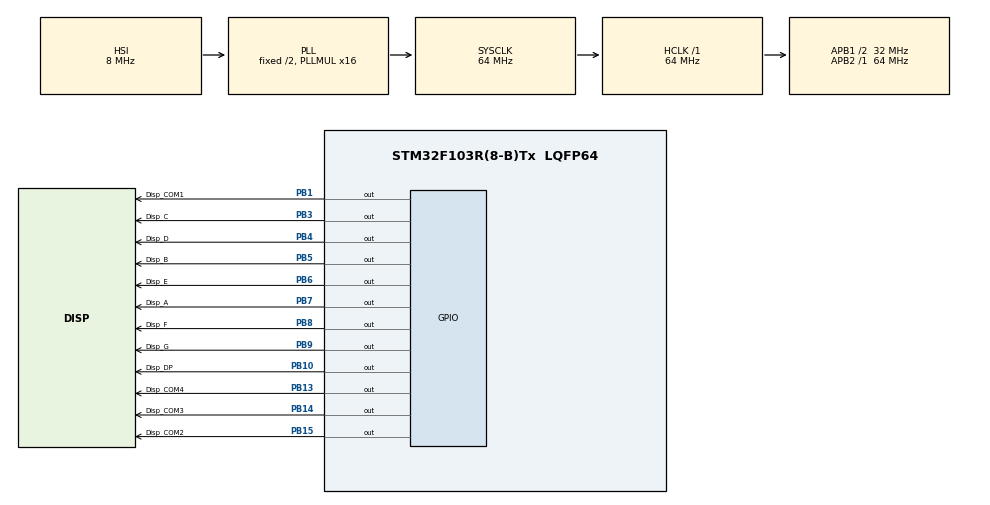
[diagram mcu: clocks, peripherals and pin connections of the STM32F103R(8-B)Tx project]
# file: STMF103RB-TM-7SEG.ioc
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Mcu.Family=STM32F1
Mcu.Name=STM32F103R(8-B)Tx
Mcu.Package=LQFP64
NVIC.PriorityGroup=NVIC_PRIORITYGROUP_4
PB1.GPIO_Label=Disp_COM1
PB1.Signal=GPIO_Output
PB10.GPIO_Label=Disp_DP
PB10.Signal=GPIO_Output
PB13.GPIO_Label=Disp_COM4
PB13.Signal=GPIO_Output
PB14.GPIO_Label=Disp_COM3
PB14.Signal=GPIO_Output
PB15.GPIO_Label=Disp_COM2
PB15.Signal=GPIO_Output
PB3.GPIO_Label=Disp_C
PB3.Signal=GPIO_Output
PB4.GPIO_Label=Disp_D
PB4.Signal=GPIO_Output
PB5.GPIO_Label=Disp_B
PB5.Signal=GPIO_Output
PB6.GPIO_Label=Disp_E
PB6.Signal=GPIO_Output
PB7.GPIO_Label=Disp_A
PB7.Signal=GPIO_Output
PB8.GPIO_Label=Disp_F
PB8.Signal=GPIO_Output
PB9.GPIO_Label=Disp_G
PB9.Signal=GPIO_Output
ProjectManager.HeapSize=0x200
ProjectManager.StackSize=0x400
ProjectManager.TargetToolchain=STM32CubeIDE
RCC.AHBFreq_Value=64000000
RCC.APB1CLKDivider=RCC_HCLK_DIV2
RCC.APB1Freq_Value=32000000
RCC.APB1TimFreq_Value=64000000
RCC.APB2Freq_Value=64000000
RCC.APB2TimFreq_Value=64000000
RCC.HCLKFreq_Value=64000000
RCC.PLLMUL=RCC_PLL_MUL16
RCC.SYSCLKFreq_VALUE=64000000
RCC.SYSCLKSource=RCC_SYSCLKSOURCE_PLLCLK
RCC.USBFreq_Value=64000000
VP_SYS_VS_ND.Mode=No_Debug
board=custom

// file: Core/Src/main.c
/* USER CODE BEGIN Header */
/**
  ******************************************************************************
  * @file           : main.c
  * @brief          : Main program body
  ******************************************************************************
  * @attention
  *
  * <h2><center>&copy; Copyright (c) 2021 STMicroelectronics.
  * All rights reserved.</center></h2>
  *
  * This software component is licensed by ST under BSD 3-Clause license,
  * the "License"; You may not use this file except in compliance with the
  * License. You may obtain a copy of the License at:
  *                        opensource.org/licenses/BSD-3-Clause
  *
  ******************************************************************************
  */
/* USER CODE END Header */
#include "main.h"

/* USER CODE BEGIN PV */
uint8_t number[10] = {
		  0b11111100,
		  0b01100000,
		  0b11011010,
		  0b11110010,
		  0b01100110,
		  0b10110110,
		  0b10111110,
		  0b11100000,
		  0b11111110,
		  0b11110110
  };

/* USER CODE END PV */

void SystemClock_Config(void);
static void MX_GPIO_Init(void);
/* USER CODE BEGIN PFP */
void Disp_WritePin(uint16_t pin, GPIO_PinState PinState);
void Disp_WriteBits(uint8_t bits);
void Disp_WriteReset(void);
/* USER CODE END PFP */

/* USER CODE BEGIN 0 */
void Disp_WritePin(uint16_t pin, GPIO_PinState PinState)
{
	HAL_GPIO_WritePin(GPIOB, pin, PinState);
}

void Disp_WriteBits(uint8_t bits)
{
	HAL_GPIO_WritePin(GPIOB, Disp_A_Pin, (bits&0b01111111) == bits);
	HAL_GPIO_WritePin(GPIOB, Disp_B_Pin, (bits&0b10111111) == bits);
	HAL_GPIO_WritePin(GPIOB, Disp_C_Pin, (bits&0b11011111) == bits);
	HAL_GPIO_WritePin(GPIOB, Disp_D_Pin, (bits&0b11101111) == bits);
	HAL_GPIO_WritePin(GPIOB, Disp_E_Pin, (bits&0b11110111) == bits);
	HAL_GPIO_WritePin(GPIOB, Disp_F_Pin, (bits&0b11111011) == bits);
	HAL_GPIO_WritePin(GPIOB, Disp_G_Pin, (bits&0b11111101) == bits);
	HAL_GPIO_WritePin(GPIOB, Disp_DP_Pin, (bits&0b11111110) == bits);
}

void Disp_WriteReset(void)
{
	HAL_GPIO_WritePin(GPIOB, Disp_A_Pin, 0);
	HAL_GPIO_WritePin(GPIOB, Disp_B_Pin, 0);
	HAL_GPIO_WritePin(GPIOB, Disp_C_Pin, 0);
	HAL_GPIO_WritePin(GPIOB, Disp_D_Pin, 0);
	HAL_GPIO_WritePin(GPIOB, Disp_E_Pin, 0);
	HAL_GPIO_WritePin(GPIOB, Disp_F_Pin, 0);
	HAL_GPIO_WritePin(GPIOB, Disp_G_Pin, 0);
	HAL_GPIO_WritePin(GPIOB, Disp_DP_Pin, 0);
}
/* USER CODE END 0 */

int main(void)
{

  /* MCU Configuration--------------------------------------------------------*/

  /* Reset of all peripherals, Initializes the Flash interface and the Systick. */
  HAL_Init();

  /* Configure the system clock */
  SystemClock_Config();

  /* Initialize all configured peripherals */
  MX_GPIO_Init();

  /* Infinite loop */
  /* USER CODE BEGIN WHILE */
  HAL_GPIO_WritePin(GPIOB, Disp_COM1_Pin, GPIO_PIN_RESET);
  HAL_GPIO_WritePin(GPIOB, Disp_COM2_Pin, GPIO_PIN_RESET);
  HAL_GPIO_WritePin(GPIOB, Disp_COM3_Pin, GPIO_PIN_RESET);
  HAL_GPIO_WritePin(GPIOB, Disp_COM4_Pin, GPIO_PIN_RESET);
  Disp_WriteBits(0b11111111);

  int i = 0;
  int j = i;

  while (1)
  {
	  /* Handling the counter */
	  i %= 10000;
	  j = i;
	  i++;

	  /* Displaying stuff */
	  Disp_WritePin(Disp_COM4_Pin, 1);
	  Disp_WriteBits(number[j%10]);
	  HAL_Delay(10);
	  Disp_WriteReset();
	  Disp_WritePin(Disp_COM4_Pin, 0);

	  j /= 10;

	  Disp_WritePin(Disp_COM3_Pin, 1);
	  Disp_WriteBits(number[j%10]);
	  HAL_Delay(10);
	  Disp_WriteReset();
	  Disp_WritePin(Disp_COM3_Pin, 0);

	  j /= 10;

	  Disp_WritePin(Disp_COM2_Pin, 1);
	  Disp_WriteBits(number[j%10]);
	  HAL_Delay(10);
	  Disp_WriteReset();
	  Disp_WritePin(Disp_COM2_Pin, 0);

	  j /= 10;

	  Disp_WritePin(Disp_COM1_Pin, 1);
	  Disp_WriteBits(number[j%10]);
	  HAL_Delay(10);
	  Disp_WriteReset();
	  Disp_WritePin(Disp_COM1_Pin, 0);
  }
  /* USER CODE END 3 */
}

void SystemClock_Config(void)
{
  RCC_OscInitTypeDef RCC_OscInitStruct = {0};
  RCC_ClkInitTypeDef RCC_ClkInitStruct = {0};

  /** Initializes the RCC Oscillators according to the specified parameters
  * in the RCC_OscInitTypeDef structure.
  */
  RCC_OscInitStruct.OscillatorType = RCC_OSCILLATORTYPE_HSI;
  RCC_OscInitStruct.HSIState = RCC_HSI_ON;
  RCC_OscInitStruct.HSICalibrationValue = RCC_HSICALIBRATION_DEFAULT;
  RCC_OscInitStruct.PLL.PLLState = RCC_PLL_ON;
  RCC_OscInitStruct.PLL.PLLSource = RCC_PLLSOURCE_HSI_DIV2;
  RCC_OscInitStruct.PLL.PLLMUL = RCC_PLL_MUL16;
  if (HAL_RCC_OscConfig(&RCC_OscInitStruct) != HAL_OK)
  {
    Error_Handler();
  }
  /** Initializes the CPU, AHB and APB buses clocks
  */
  RCC_ClkInitStruct.ClockType = RCC_CLOCKTYPE_HCLK|RCC_CLOCKTYPE_SYSCLK
                              |RCC_CLOCKTYPE_PCLK1|RCC_CLOCKTYPE_PCLK2;
  RCC_ClkInitStruct.SYSCLKSource = RCC_SYSCLKSOURCE_PLLCLK;
  RCC_ClkInitStruct.AHBCLKDivider = RCC_SYSCLK_DIV1;
  RCC_ClkInitStruct.APB1CLKDivider = RCC_HCLK_DIV2;
  RCC_ClkInitStruct.APB2CLKDivider = RCC_HCLK_DIV1;

  if (HAL_RCC_ClockConfig(&RCC_ClkInitStruct, FLASH_LATENCY_2) != HAL_OK)
  {
    Error_Handler();
  }
}

static void MX_GPIO_Init(void)
{
  GPIO_InitTypeDef GPIO_InitStruct = {0};

  /* GPIO Ports Clock Enable */
  __HAL_RCC_GPIOB_CLK_ENABLE();

  /*Configure GPIO pin Output Level */
  HAL_GPIO_WritePin(GPIOB, Disp_COM1_Pin|Disp_DP_Pin|Disp_COM4_Pin|Disp_COM3_Pin
                          |Disp_COM2_Pin|Disp_C_Pin|Disp_D_Pin|Disp_B_Pin
                          |Disp_E_Pin|Disp_A_Pin|Disp_F_Pin|Disp_G_Pin, GPIO_PIN_RESET);

  /*Configure GPIO pins : Disp_COM1_Pin Disp_DP_Pin Disp_COM4_Pin Disp_COM3_Pin
                           Disp_COM2_Pin Disp_C_Pin Disp_D_Pin Disp_B_Pin
                           Disp_E_Pin Disp_A_Pin Disp_F_Pin Disp_G_Pin */
  GPIO_InitStruct.Pin = Disp_COM1_Pin|Disp_DP_Pin|Disp_COM4_Pin|Disp_COM3_Pin
                          |Disp_COM2_Pin|Disp_C_Pin|Disp_D_Pin|Disp_B_Pin
                          |Disp_E_Pin|Disp_A_Pin|Disp_F_Pin|Disp_G_Pin;
  GPIO_InitStruct.Mode = GPIO_MODE_OUTPUT_PP;
  GPIO_InitStruct.Pull = GPIO_NOPULL;
  GPIO_InitStruct.Speed = GPIO_SPEED_FREQ_LOW;
  HAL_GPIO_Init(GPIOB, &GPIO_InitStruct);

}

void Error_Handler(void)
{
  __disable_irq();
  while (1)
  {
  }
}

/************************ (C) COPYRIGHT STMicroelectronics *****END OF FILE****/
